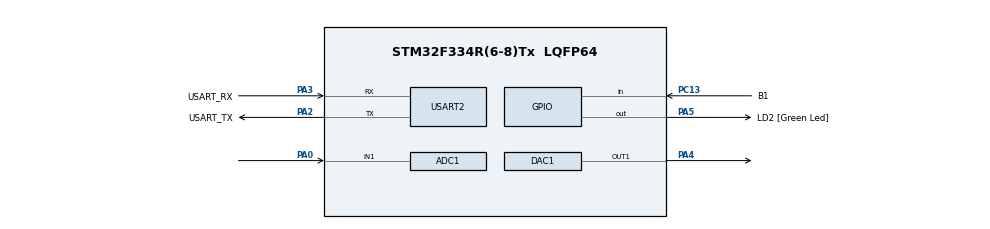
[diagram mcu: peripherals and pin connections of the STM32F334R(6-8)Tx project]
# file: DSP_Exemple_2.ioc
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ADC1.Channel-0\#ChannelRegularConversion=ADC_CHANNEL_1
ADC1.NbrOfConversionFlag=1
ADC1.Offset-0\#ChannelRegularConversion=0
ADC1.OffsetNumber-0\#ChannelRegularConversion=ADC_OFFSET_NONE
ADC1.Rank-0\#ChannelRegularConversion=1
ADC1.SamplingTime-0\#ChannelRegularConversion=ADC_SAMPLETIME_1CYCLE_5
ADC1.SubFamily=STM32F334x8
ADC1.master=1
Mcu.Family=STM32F3
Mcu.Name=STM32F334R(6-8)Tx
Mcu.Package=LQFP64
NVIC.ADC1_2_IRQn=true\:0\:0\:false\:true\:true\:1\:true\:true\:true
NVIC.PriorityGroup=NVIC_PRIORITYGROUP_0
NVIC.TIM3_IRQn=true\:0\:0\:false\:true\:true\:2\:true\:true\:true
PA0.Mode=IN1-Single-Ended
PA0.Signal=ADC1_IN1
PA13.GPIO_Label=TMS
PA13.Mode=Serial_Wire
PA13.Signal=SYS_JTMS-SWDIO
PA14.GPIO_Label=TCK
PA14.Mode=Serial_Wire
PA14.Signal=SYS_JTCK-SWCLK
PA2.GPIO_Label=USART_TX
PA2.Mode=Asynchronous
PA2.Signal=USART2_TX
PA3.GPIO_Label=USART_RX
PA3.Mode=Asynchronous
PA3.Signal=USART2_RX
PA4.Signal=COMP_DAC11_group
PA5.GPIO_Label=LD2 [Green Led]
PA5.Signal=GPIO_Output
PB3.GPIO_Label=SWO
PB3.Signal=SYS_JTDO-TRACESWO
PC13.GPIO_Label=B1
PC13.Signal=GPIO_Input
PC14\ /\ OSC32_IN.Mode=LSE-External-Oscillator
PC14\ /\ OSC32_IN.Signal=RCC_OSC32_IN
PC15\ /\ OSC32_OUT.GPIO_Label=RCC_OSC32_OUT
PC15\ /\ OSC32_OUT.Mode=LSE-External-Oscillator
PC15\ /\ OSC32_OUT.Signal=RCC_OSC32_OUT
PF0\ /\ OSC_IN.Mode=HSE-External-Clock-Source
PF0\ /\ OSC_IN.Signal=RCC_OSC_IN
PF1\ /\ OSC_OUT.Signal=RCC_OSC_OUT
ProjectManager.HeapSize=0x200
ProjectManager.StackSize=0x400
ProjectManager.TargetToolchain=STM32CubeIDE
RCC.AHBFreq_Value=64000000
RCC.APB1CLKDivider=RCC_HCLK_DIV2
RCC.APB1Freq_Value=32000000
RCC.APB1TimFreq_Value=64000000
RCC.APB2Freq_Value=64000000
RCC.APB2TimFreq_Value=64000000
RCC.CortexFreq_Value=64000000
RCC.FLatency-AdvancedSettings=FLASH_LATENCY_2
RCC.HCLKFreq_Value=64000000
RCC.HSE_VALUE=8000000
RCC.HSI_VALUE=8000000
RCC.PLLMUL=RCC_PLL_MUL16
RCC.SYSCLKFreq_VALUE=64000000
RCC.SYSCLKSourceVirtual=RCC_SYSCLKSOURCE_PLLCLK
SH.COMP_DAC11_group.0=DAC1_OUT1,DAC_OUT1
TIM3.Channel-Output\ Compare1\ No\ Output=TIM_CHANNEL_1
TIM3.Period=64
TIM3.Prescaler=100
USART2.VirtualMode-Asynchronous=VM_ASYNC
VP_TIM3_VS_no_output1.Mode=Output Compare1 No Output
board=NUCLEO-F334R8

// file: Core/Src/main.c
/**
 *
 * Processamento Digital de Sinais - 2023/1
 *
 * Aline Nunes de Souza
 * Davi de Souza Leão Schmitz
 *
 *
 *
 *
 ******************************************************************************
 * @file           : main.c
 * @brief          : Main program body
 ******************************************************************************
 ** This notice applies to any and all portions of this file
 * that are not between comment pairs USER CODE BEGIN and
 * USER CODE END. Other portions of this file, whether
 * inserted by the user or by software development tools
 * are owned by their respective copyright owners.
 *
 * COPYRIGHT(c) 2018 STMicroelectronics
 *
 * Redistribution and use in source and binary forms, with or without modification,
 * are permitted provided that the following conditions are met:
 *   1. Redistributions of source code must retain the above copyright notice,
 *      this list of conditions and the following disclaimer.
 *   2. Redistributions in binary form must reproduce the above copyright notice,
 *      this list of conditions and the following disclaimer in the documentation
 *      and/or other materials provided with the distribution.
 *   3. Neither the name of STMicroelectronics nor the names of its contributors
 *      may be used to endorse or promote products derived from this software
 *      without specific prior written permission.
 *
 * THIS SOFTWARE IS PROVIDED BY THE COPYRIGHT HOLDERS AND CONTRIBUTORS "AS IS"
 * AND ANY EXPRESS OR IMPLIED WARRANTIES, INCLUDING, BUT NOT LIMITED TO, THE
 * IMPLIED WARRANTIES OF MERCHANTABILITY AND FITNESS FOR A PARTICULAR PURPOSE ARE
 * DISCLAIMED. IN NO EVENT SHALL THE COPYRIGHT HOLDER OR CONTRIBUTORS BE LIABLE
 * FOR ANY DIRECT, INDIRECT, INCIDENTAL, SPECIAL, EXEMPLARY, OR CONSEQUENTIAL
 * DAMAGES (INCLUDING, BUT NOT LIMITED TO, PROCUREMENT OF SUBSTITUTE GOODS OR
 * SERVICES; LOSS OF USE, DATA, OR PROFITS; OR BUSINESS INTERRUPTION) HOWEVER
 * CAUSED AND ON ANY THEORY OF LIABILITY, WHETHER IN CONTRACT, STRICT LIABILITY,
 * OR TORT (INCLUDING NEGLIGENCE OR OTHERWISE) ARISING IN ANY WAY OUT OF THE USE
 * OF THIS SOFTWARE, EVEN IF ADVISED OF THE POSSIBILITY OF SUCH DAMAGE.
 *
 ******************************************************************************
 */
#include "main.h"
#include "stm32f3xx_hal.h"
#include "stdlib.h"

ADC_HandleTypeDef hadc1;

DAC_HandleTypeDef hdac1;

TIM_HandleTypeDef htim3;

UART_HandleTypeDef huart2;

/* USER CODE BEGIN PV */
/* Private variables ---------------------------------------------------------*/
//Variavel com o valor lido do ADC.
volatile uint32_t g_ADCValue, g_DACValue;
uint8_t buffer[50];

// Coeficientes
float b0;
float b1;
float b2;

float a1;
float a2;

// Variaveis de estado
uint32_t xh1 = 0;
uint32_t xh2 = 0;

uint32_t yh1 = 0;
uint32_t yh2 = 0;

/* USER CODE END PV */

void SystemClock_Config(void);
static void MX_GPIO_Init(void);
static void MX_USART2_UART_Init(void);
static void MX_DAC1_Init(void);
static void MX_ADC1_Init(void);
static void MX_TIM3_Init(void);
static void MX_NVIC_Init(void);

/* USER CODE BEGIN PFP */
/* Private function prototypes -----------------------------------------------*/

/* USER CODE END PFP */

int main(void)
{

/* Reset of all peripherals, Initializes the Flash interface and the Systick. */
HAL_Init();

/* Configure the system clock */
SystemClock_Config();

/* Initialize all configured peripherals */
MX_GPIO_Init();
MX_USART2_UART_Init();
MX_DAC1_Init();
MX_ADC1_Init();
MX_TIM3_Init();

/* Initialize interrupts */
MX_NVIC_Init();

/* Infinite loop */
/* USER CODE BEGIN WHILE */

HAL_TIM_Base_Start_IT(&htim3);
HAL_DAC_Start(&hdac1, DAC_CHANNEL_1);

  float Fs = 5000;  // taxa de amostragem

  float fc = 500;  //frequencia de corte

  float zeta = 0.707;
  float pi = 3.14159265358979323846;
  float C = 1/(tan(pi*fc/Fs));

  b0 = 1/(1+2*zeta*C+C*C);
  b1 = 2*b0;
  b2 = b0;

  a1 = 2*b0*(1-C*C);
  a2 = b0*(1-2*zeta*C+C*C);

  while (1)
  {
    /* USER CODE END WHILE */

  }

}

void SystemClock_Config(void)
{

RCC_OscInitTypeDef RCC_OscInitStruct;
RCC_ClkInitTypeDef RCC_ClkInitStruct;
RCC_PeriphCLKInitTypeDef PeriphClkInit;

/**Initializes the CPU, AHB and APB busses clocks
*/
RCC_OscInitStruct.OscillatorType = RCC_OSCILLATORTYPE_HSI;
RCC_OscInitStruct.HSIState = RCC_HSI_ON;
RCC_OscInitStruct.HSICalibrationValue = 16;
RCC_OscInitStruct.PLL.PLLState = RCC_PLL_ON;
RCC_OscInitStruct.PLL.PLLSource = RCC_PLLSOURCE_HSI;
RCC_OscInitStruct.PLL.PLLMUL = RCC_PLL_MUL16;
if (HAL_RCC_OscConfig(&RCC_OscInitStruct) != HAL_OK)
{
_Error_Handler(__FILE__, __LINE__);
}

/**Initializes the CPU, AHB and APB busses clocks
*/
RCC_ClkInitStruct.ClockType = RCC_CLOCKTYPE_HCLK|RCC_CLOCKTYPE_SYSCLK
|RCC_CLOCKTYPE_PCLK1|RCC_CLOCKTYPE_PCLK2;
RCC_ClkInitStruct.SYSCLKSource = RCC_SYSCLKSOURCE_PLLCLK;
RCC_ClkInitStruct.AHBCLKDivider = RCC_SYSCLK_DIV1;
RCC_ClkInitStruct.APB1CLKDivider = RCC_HCLK_DIV2;
RCC_ClkInitStruct.APB2CLKDivider = RCC_HCLK_DIV1;

if (HAL_RCC_ClockConfig(&RCC_ClkInitStruct, FLASH_LATENCY_2) != HAL_OK)
{
_Error_Handler(__FILE__, __LINE__);
}

PeriphClkInit.PeriphClockSelection = RCC_PERIPHCLK_ADC12;
PeriphClkInit.Adc12ClockSelection = RCC_ADC12PLLCLK_DIV1;
if (HAL_RCCEx_PeriphCLKConfig(&PeriphClkInit) != HAL_OK)
{
_Error_Handler(__FILE__, __LINE__);
}

/**Configure the Systick interrupt time
*/
HAL_SYSTICK_Config(HAL_RCC_GetHCLKFreq()/1000);

/**Configure the Systick
*/
HAL_SYSTICK_CLKSourceConfig(SYSTICK_CLKSOURCE_HCLK);

/* SysTick_IRQn interrupt configuration */
HAL_NVIC_SetPriority(SysTick_IRQn, 0, 0);
}

/**
 * @brief NVIC Configuration.
 * @retval None
 */
static void MX_NVIC_Init(void)
{
/* ADC1_2_IRQn interrupt configuration */
HAL_NVIC_SetPriority(ADC1_2_IRQn, 0, 0);
HAL_NVIC_EnableIRQ(ADC1_2_IRQn);
/* TIM3_IRQn interrupt configuration */
HAL_NVIC_SetPriority(TIM3_IRQn, 0, 0);
HAL_NVIC_EnableIRQ(TIM3_IRQn);
}

/* ADC1 init function */
static void MX_ADC1_Init(void)
{

ADC_MultiModeTypeDef multimode;
ADC_ChannelConfTypeDef sConfig;

/**Common config
*/
hadc1.Instance = ADC1;
hadc1.Init.ClockPrescaler = ADC_CLOCK_ASYNC_DIV1;
hadc1.Init.Resolution = ADC_RESOLUTION_12B;
hadc1.Init.ScanConvMode = ADC_SCAN_DISABLE;
hadc1.Init.ContinuousConvMode = DISABLE;
hadc1.Init.DiscontinuousConvMode = DISABLE;
hadc1.Init.ExternalTrigConvEdge = ADC_EXTERNALTRIGCONVEDGE_NONE;
hadc1.Init.ExternalTrigConv = ADC_SOFTWARE_START;
hadc1.Init.DataAlign = ADC_DATAALIGN_RIGHT;
hadc1.Init.NbrOfConversion = 1;
hadc1.Init.DMAContinuousRequests = DISABLE;
hadc1.Init.EOCSelection = ADC_EOC_SINGLE_CONV;
hadc1.Init.LowPowerAutoWait = DISABLE;
hadc1.Init.Overrun = ADC_OVR_DATA_OVERWRITTEN;
if (HAL_ADC_Init(&hadc1) != HAL_OK)
{
_Error_Handler(__FILE__, __LINE__);
}

/**Configure the ADC multi-mode
*/
multimode.Mode = ADC_MODE_INDEPENDENT;
if (HAL_ADCEx_MultiModeConfigChannel(&hadc1, &multimode) != HAL_OK)
{
_Error_Handler(__FILE__, __LINE__);
}

/**Configure Regular Channel
*/
sConfig.Channel = ADC_CHANNEL_1;
sConfig.Rank = ADC_REGULAR_RANK_1;
sConfig.SingleDiff = ADC_SINGLE_ENDED;
sConfig.SamplingTime = ADC_SAMPLETIME_1CYCLE_5;
sConfig.OffsetNumber = ADC_OFFSET_NONE;
sConfig.Offset = 0;
if (HAL_ADC_ConfigChannel(&hadc1, &sConfig) != HAL_OK)
{
_Error_Handler(__FILE__, __LINE__);
}

}

/* DAC1 init function */
static void MX_DAC1_Init(void)
{

DAC_ChannelConfTypeDef sConfig;

/**DAC Initialization
*/
hdac1.Instance = DAC1;
if (HAL_DAC_Init(&hdac1) != HAL_OK)
{
_Error_Handler(__FILE__, __LINE__);
}

/**DAC channel OUT1 config
*/
sConfig.DAC_Trigger = DAC_TRIGGER_NONE;
sConfig.DAC_OutputBuffer = DAC_OUTPUTBUFFER_ENABLE;
if (HAL_DAC_ConfigChannel(&hdac1, &sConfig, DAC_CHANNEL_1) != HAL_OK)
{
_Error_Handler(__FILE__, __LINE__);
}

}

/* TIM3 init function */
static void MX_TIM3_Init(void)
{

TIM_MasterConfigTypeDef sMasterConfig;
TIM_OC_InitTypeDef sConfigOC;

htim3.Instance = TIM3;
htim3.Init.Prescaler = 100;
htim3.Init.CounterMode = TIM_COUNTERMODE_UP;
htim3.Init.Period = 64;
htim3.Init.ClockDivision = TIM_CLOCKDIVISION_DIV1;
htim3.Init.AutoReloadPreload = TIM_AUTORELOAD_PRELOAD_DISABLE;
if (HAL_TIM_OC_Init(&htim3) != HAL_OK)
{
_Error_Handler(__FILE__, __LINE__);
}

sMasterConfig.MasterOutputTrigger = TIM_TRGO_RESET;
sMasterConfig.MasterSlaveMode = TIM_MASTERSLAVEMODE_DISABLE;
if (HAL_TIMEx_MasterConfigSynchronization(&htim3, &sMasterConfig) != HAL_OK)
{
_Error_Handler(__FILE__, __LINE__);
}

sConfigOC.OCMode = TIM_OCMODE_TIMING;
sConfigOC.Pulse = 0;
sConfigOC.OCPolarity = TIM_OCPOLARITY_HIGH;
sConfigOC.OCFastMode = TIM_OCFAST_DISABLE;
if (HAL_TIM_OC_ConfigChannel(&htim3, &sConfigOC, TIM_CHANNEL_1) != HAL_OK)
{
_Error_Handler(__FILE__, __LINE__);
}

}

/* USART2 init function */
static void MX_USART2_UART_Init(void)
{

huart2.Instance = USART2;
huart2.Init.BaudRate = 38400;
huart2.Init.StopBits = UART_STOPBITS_1;
huart2.Init.Parity = UART_PARITY_NONE;
huart2.Init.Mode = UART_MODE_TX_RX;
huart2.Init.HwFlowCtl = UART_HWCONTROL_NONE;
huart2.Init.OverSampling = UART_OVERSAMPLING_16;
huart2.Init.OneBitSampling = UART_ONE_BIT_SAMPLE_DISABLE;
huart2.AdvancedInit.AdvFeatureInit = UART_ADVFEATURE_NO_INIT;
if (HAL_UART_Init(&huart2) != HAL_OK)
{
_Error_Handler(__FILE__, __LINE__);
}

}

/** Configure pins as
 * Analog
 * Input
 * Output
 * EVENT_OUT
 * EXTI
 */
static void MX_GPIO_Init(void)
{

GPIO_InitTypeDef GPIO_InitStruct;

/* GPIO Ports Clock Enable */
__HAL_RCC_GPIOC_CLK_ENABLE();
__HAL_RCC_GPIOF_CLK_ENABLE();
__HAL_RCC_GPIOA_CLK_ENABLE();
__HAL_RCC_GPIOB_CLK_ENABLE();

/*Configure GPIO pin Output Level */
HAL_GPIO_WritePin(LD2_GPIO_Port, LD2_Pin, GPIO_PIN_RESET);

/*Configure GPIO pin : B1_Pin */
GPIO_InitStruct.Pin = B1_Pin;
GPIO_InitStruct.Mode = GPIO_MODE_INPUT;
GPIO_InitStruct.Pull = GPIO_NOPULL;
HAL_GPIO_Init(B1_GPIO_Port, &GPIO_InitStruct);

/*Configure GPIO pin : LD2_Pin */
GPIO_InitStruct.Pin = LD2_Pin;
GPIO_InitStruct.Mode = GPIO_MODE_OUTPUT_PP;
GPIO_InitStruct.Pull = GPIO_NOPULL;
GPIO_InitStruct.Speed = GPIO_SPEED_FREQ_LOW;
HAL_GPIO_Init(LD2_GPIO_Port, &GPIO_InitStruct);

}

/* USER CODE BEGIN 4 */

void HAL_TIM_PeriodElapsedCallback(TIM_HandleTypeDef *htim)
{
HAL_ADC_Start_IT(&hadc1);
}

void HAL_ADC_ConvCpltCallback(ADC_HandleTypeDef* hadc)
{
/* Faz a leitura do valor analógico convertido */
g_ADCValue = HAL_ADC_GetValue(&hadc1);
g_DACValue = b0*g_ADCValue + b1*xh1  + b2*xh2 - a1*yh1 - a2*yh2;

xh1 = xh1;
xh1 = g_ADCValue;

yh2 = yh1;
yh1 = g_DACValue;

HAL_DAC_SetValue(&hdac1, DAC_CHANNEL_1,DAC_ALIGN_12B_R,g_DACValue);
}

/* USER CODE END 4 */

void _Error_Handler(char *file, int line)
{
while(1)
{
}
}

/************************ (C) COPYRIGHT STMicroelectronics *****END OF FILE****/
